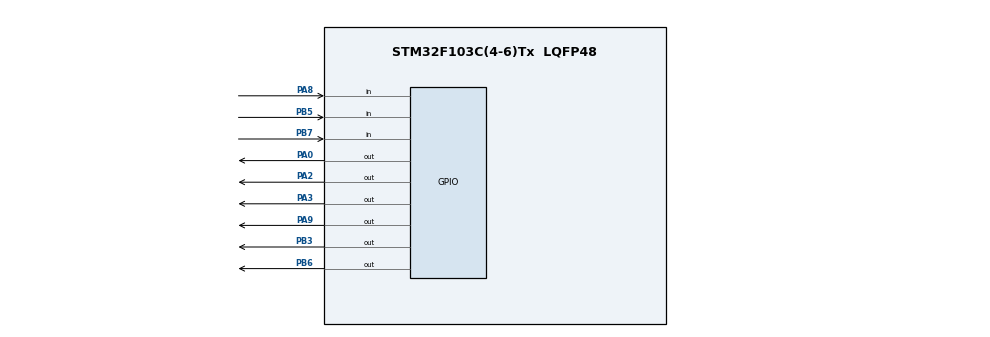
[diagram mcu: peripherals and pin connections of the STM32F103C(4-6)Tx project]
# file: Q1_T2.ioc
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Mcu.Family=STM32F1
VP_SYS_VS_ND.Mode=No_Debug
ProjectManager.StackSize=0x400
PA0-WKUP.Signal=GPIO_Output
ProjectManager.TargetToolchain=STM32CubeIDE
PA9.Signal=GPIO_Output
PB6.Signal=GPIO_Output
board=custom
RCC.APB2Freq_Value=8000000
PB7.Signal=GPIO_Input
PA8.Signal=GPIO_Input
Mcu.Name=STM32F103C(4-6)Tx
PA2.Signal=GPIO_Output
PB3.Signal=GPIO_Output
Mcu.Package=LQFP48
PB5.Signal=GPIO_Input
ProjectManager.HeapSize=0x200
NVIC.PriorityGroup=NVIC_PRIORITYGROUP_4
RCC.APB1Freq_Value=8000000
PA3.Signal=GPIO_Output

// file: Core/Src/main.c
/* USER CODE BEGIN Header */
/**
  ******************************************************************************
  * @file           : main.c
  * @brief          : Main program body
  ******************************************************************************
  * @attention
  *
  * <h2><center>&copy; Copyright (c) 2021 STMicroelectronics.
  * All rights reserved.</center></h2>
  *
  * This software component is licensed by ST under BSD 3-Clause license,
  * the "License"; You may not use this file except in compliance with the
  * License. You may obtain a copy of the License at:
  *                        opensource.org/licenses/BSD-3-Clause
  *
  ******************************************************************************
  */
/* USER CODE END Header */
#include "main.h"

/* USER CODE BEGIN Includes */
#include "stdio.h"
#include "stdlib.h"
/* USER CODE END Includes */

/* USER CODE BEGIN PD */
#define cursor_apagado	0x0c
#define cursor_aceso	0x0e
#define cursor_piscando	0x0f

#define en_0	GPIOA -> BRR  = 1<<9
#define en_1	GPIOA -> BSRR = 1<<9
#define rs_0	GPIOB -> BRR  = 1<<3
#define rs_1	GPIOB -> BSRR = 1<<3

#define d7_0	GPIOA -> BRR  = 1 << 0
#define d7_1	GPIOA -> BSRR = 1 << 0
#define d6_0	GPIOA -> BRR  = 1 << 2
#define d6_1	GPIOA -> BSRR = 1 << 2
#define d5_0	GPIOB -> BRR  = 1 << 6
#define d5_1	GPIOB -> BSRR = 1 << 6
#define d4_0	GPIOA -> BRR  = 1 << 3
#define d4_1	GPIOA -> BSRR = 1 << 3

/* USER CODE END PD */

void SystemClock_Config(void);
static void MX_GPIO_Init(void);
/* USER CODE BEGIN PFP */

void lcd_wrcom(uint8_t com);
void lcd_wrchar(char ch);
void lcd_init(uint8_t cursor);
void lcd_clear (void);
void lcd_goto(uint8_t x, uint8_t y);
void lcd_wrstr(char *str);

/* USER CODE END PFP */

int main(void)
{

  /* MCU Configuration--------------------------------------------------------*/

  /* Reset of all peripherals, Initializes the Flash interface and the Systick. */
  HAL_Init();

  /* Configure the system clock */
  SystemClock_Config();

  /* Initialize all configured peripherals */
  MX_GPIO_Init();
  /* USER CODE BEGIN 2 */

  uint8_t estado = 1;
  int tempo = 0,tempo_1 = 0;
  int tempo_2 = 0;
  char lcd_time[100];

  lcd_init(cursor_apagado);
  lcd_clear ();

  lcd_goto(21,3);
  sprintf(lcd_time,"%d  ", (tempo_2));
  lcd_wrstr(lcd_time);

  /* USER CODE END 2 */

  /* Infinite loop */
  while (1)
  {

    /* USER CODE BEGIN 3 */

	  if(HAL_GetTick() > tempo + 100){
		  tempo = HAL_GetTick();
		  sprintf(lcd_time,"%d  ", (tempo_2));

		  switch(estado){
		  case 1:
			  tempo_2++;
			  lcd_goto(21,3);
			  lcd_wrstr(lcd_time);
			  break;
		  case 2:
			  tempo_2--;
			  lcd_goto(21,3);
			  lcd_wrstr(lcd_time);
			  break;

		  case 3:
			  lcd_goto(21,3);
			  lcd_wrstr(lcd_time);
			  break;

		  default:
			  lcd_goto(0,0);
			  lcd_wrstr("ERRO");
			  break;
		  }
	  }

	  if(HAL_GetTick()>tempo_1+5){
		  tempo_1 = HAL_GetTick();
		  // Estabalece um limite de contagem
		  if(tempo_2 > 999) tempo_2 = 999;
		  if(tempo_2 < -99) tempo_2 = -99;

		  // SOMADOR
		  if(!(GPIOA->IDR & (1<<8))){
			  if(estado != 3) estado = 1;
			  else tempo_2++;
		  }
		  // SUBTRATOR
		  if(!(GPIOB->IDR & (1<<5))){
			  if(estado != 3) estado = 2;
			  else tempo_2--;
		  }
		  // CONF
		  if(!(GPIOB->IDR & (1<<7))){
			  if(estado == 3) estado = 1;
			  else estado = 3;
		  }
		  while(!(GPIOB->IDR & (1<<7))){}
		  while(!(GPIOA->IDR & (1<<8))){}
		  while(!(GPIOB->IDR & (1<<5))){}
	  }
  }
  /* USER CODE END 3 */
}

void SystemClock_Config(void)
{
  RCC_OscInitTypeDef RCC_OscInitStruct = {0};
  RCC_ClkInitTypeDef RCC_ClkInitStruct = {0};

  /** Initializes the RCC Oscillators according to the specified parameters
  * in the RCC_OscInitTypeDef structure.
  */
  RCC_OscInitStruct.OscillatorType = RCC_OSCILLATORTYPE_HSI;
  RCC_OscInitStruct.HSIState = RCC_HSI_ON;
  RCC_OscInitStruct.HSICalibrationValue = RCC_HSICALIBRATION_DEFAULT;
  RCC_OscInitStruct.PLL.PLLState = RCC_PLL_NONE;
  if (HAL_RCC_OscConfig(&RCC_OscInitStruct) != HAL_OK)
  {
    Error_Handler();
  }
  /** Initializes the CPU, AHB and APB buses clocks
  */
  RCC_ClkInitStruct.ClockType = RCC_CLOCKTYPE_HCLK|RCC_CLOCKTYPE_SYSCLK
                              |RCC_CLOCKTYPE_PCLK1|RCC_CLOCKTYPE_PCLK2;
  RCC_ClkInitStruct.SYSCLKSource = RCC_SYSCLKSOURCE_HSI;
  RCC_ClkInitStruct.AHBCLKDivider = RCC_SYSCLK_DIV1;
  RCC_ClkInitStruct.APB1CLKDivider = RCC_HCLK_DIV1;
  RCC_ClkInitStruct.APB2CLKDivider = RCC_HCLK_DIV1;

  if (HAL_RCC_ClockConfig(&RCC_ClkInitStruct, FLASH_LATENCY_0) != HAL_OK)
  {
    Error_Handler();
  }
}

static void MX_GPIO_Init(void)
{
  GPIO_InitTypeDef GPIO_InitStruct = {0};

  /* GPIO Ports Clock Enable */
  __HAL_RCC_GPIOA_CLK_ENABLE();
  __HAL_RCC_GPIOB_CLK_ENABLE();

  /*Configure GPIO pin Output Level */
  HAL_GPIO_WritePin(GPIOA, GPIO_PIN_0|GPIO_PIN_2|GPIO_PIN_3|GPIO_PIN_9, GPIO_PIN_RESET);

  /*Configure GPIO pin Output Level */
  HAL_GPIO_WritePin(GPIOB, GPIO_PIN_3|GPIO_PIN_6, GPIO_PIN_RESET);

  /*Configure GPIO pins : PA0 PA2 PA3 PA9 */
  GPIO_InitStruct.Pin = GPIO_PIN_0|GPIO_PIN_2|GPIO_PIN_3|GPIO_PIN_9;
  GPIO_InitStruct.Mode = GPIO_MODE_OUTPUT_PP;
  GPIO_InitStruct.Pull = GPIO_NOPULL;
  GPIO_InitStruct.Speed = GPIO_SPEED_FREQ_LOW;
  HAL_GPIO_Init(GPIOA, &GPIO_InitStruct);

  /*Configure GPIO pin : PA8 */
  GPIO_InitStruct.Pin = GPIO_PIN_8;
  GPIO_InitStruct.Mode = GPIO_MODE_INPUT;
  GPIO_InitStruct.Pull = GPIO_PULLUP;
  HAL_GPIO_Init(GPIOA, &GPIO_InitStruct);

  /*Configure GPIO pins : PB3 PB6 */
  GPIO_InitStruct.Pin = GPIO_PIN_3|GPIO_PIN_6;
  GPIO_InitStruct.Mode = GPIO_MODE_OUTPUT_PP;
  GPIO_InitStruct.Pull = GPIO_NOPULL;
  GPIO_InitStruct.Speed = GPIO_SPEED_FREQ_LOW;
  HAL_GPIO_Init(GPIOB, &GPIO_InitStruct);

  /*Configure GPIO pins : PB5 PB7 */
  GPIO_InitStruct.Pin = GPIO_PIN_5|GPIO_PIN_7;
  GPIO_InitStruct.Mode = GPIO_MODE_INPUT;
  GPIO_InitStruct.Pull = GPIO_PULLUP;
  HAL_GPIO_Init(GPIOB, &GPIO_InitStruct);

}

/* USER CODE BEGIN 4 */
void udelay(void)
{
	int tempo = 7;
	while(tempo--);
}

void delayus(int tempo)
{
	while(tempo--) udelay();
}

void lcd_send4bits(uint8_t dat)
{
	if((dat & (1<<0)) == 0) d4_0; else d4_1;
	if((dat & (1<<1)) == 0) d5_0; else d5_1;
	if((dat & (1<<2)) == 0) d6_0; else d6_1;
	if((dat & (1<<3)) == 0) d7_0; else d7_1;

}

//Comando de 4 bits
void lcd_wrcom4(uint8_t com)
{
	lcd_send4bits(com);
	rs_0;
	en_1;
	delayus(5);
	en_0;
	HAL_Delay(5);
}

// Comando de 8 bits
void lcd_wrcom(uint8_t com)
{
	lcd_send4bits(com>>4);
	rs_0;
	en_1;
	delayus(5);
	en_0;

	lcd_send4bits(com);
	en_1;
	delayus(5);
	en_0;
	HAL_Delay(5);

}

void lcd_wrchar(char ch)
{
	lcd_send4bits(ch>>4);
	rs_1;
	en_1;
	delayus(5);
	en_0;
	HAL_Delay(5);

	lcd_send4bits(ch);
	en_1;
	delayus(5);
	en_0;
	HAL_Delay(5);
}

void lcd_init(uint8_t cursor)
{
	lcd_wrcom4(3);
	lcd_wrcom4(3);
	lcd_wrcom4(3);
	lcd_wrcom4(2);

	lcd_wrcom(0x28);
	lcd_wrcom(cursor);
	lcd_wrcom(0x06);
	lcd_wrcom(0x01);
}

void lcd_clear (void)
{
	lcd_wrcom(0x01);
}

void lcd_goto(uint8_t x, uint8_t y)
{
	uint8_t com = 0x80;
	if(y==0) com = 0x80 + x;
	if(y==1) com = 0xC0 + x;
	if(y==2) com = 0x90 + x;
	if(y==3) com = 0xD0 + x;

	lcd_wrcom(com);
}

void lcd_wrstr(char *str)
{
	while(*str) lcd_wrchar(*(str++));
}

/* USER CODE END 4 */

void Error_Handler(void)
{
  __disable_irq();
  while (1)
  {
  }
}

/************************ (C) COPYRIGHT STMicroelectronics *****END OF FILE****/
